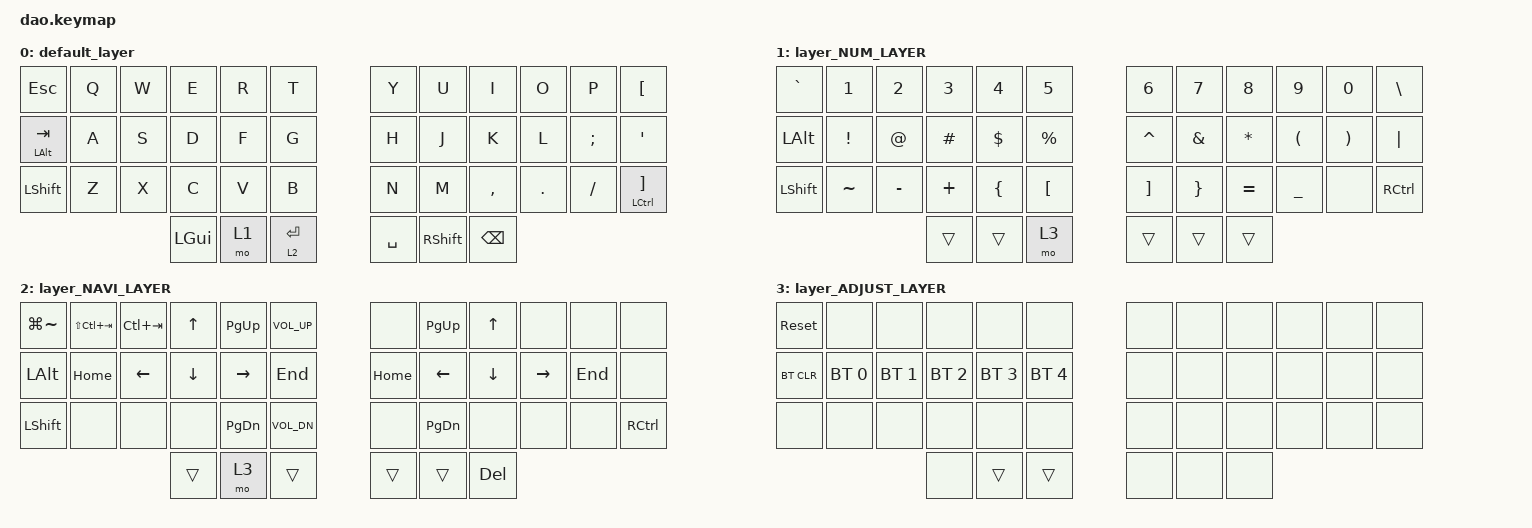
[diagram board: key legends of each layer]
/*
 * Copyright (c) 2021 Rafael Yumagulov
 *
 * SPDX-License-Identifier: MIT
 */

#include <behaviors.dtsi>
#include <dt-bindings/zmk/keys.h>
#include <dt-bindings/zmk/bt.h>
/*#include <dt-bindings/zmk/outputs.h>*/


#define QWERTY 0
#define NUMB 1
#define NAVI 2
#define ADJUST 3


&lt { quick_tap_ms = <150>; };
&mt { quick_tap_ms = <150>; };
&kscan0 {
    debounce-press-ms = <10>;
    debounce-release-ms = <10>;
};

/ {
    chosen {
        zmk,matrix_transform = &default_transform;
        // zmk,matrix_transform = &extra_keys_transform;
    };
};

/ {
     keymap {
        compatible = "zmk,keymap";


        default_layer {
            bindings = <
      &kp ESC   &kp Q   &kp W     &kp E   &kp R        &kp T              &kp Y      &kp U          &kp I    &kp O     &kp P         &kp LEFT_BRACKET
 &mt LALT TAB   &kp A   &kp S     &kp D   &kp F        &kp G              &kp H      &kp J          &kp K    &kp L  &kp SEMI                 &kp APOS
    &kp LSHFT   &kp Z   &kp X     &kp C   &kp V        &kp B              &kp N      &kp M      &kp COMMA  &kp DOT  &kp FSLH  &mt LCTRL RIGHT_BRACKET
                               &kp LGUI   &mo 1  &lt 2 ENTER          &kp SPACE  &kp RSHFT  &kp BACKSPACE
            >;
        };

        layer_NUM_LAYER {
            bindings = <
      &kp GRAVE           &kp N1       &kp N2    &kp N3          &kp N4            &kp N5                     &kp N6           &kp N7        &kp N8                &kp N9                 &kp N0      &kp BACKSLASH
   &kp LEFT_ALT  &kp EXCLAMATION  &kp AT_SIGN  &kp HASH      &kp DOLLAR       &kp PERCENT                  &kp CARET    &kp AMPERSAND  &kp ASTERISK  &kp LEFT_PARENTHESIS  &kp RIGHT_PARENTHESIS           &kp PIPE
 &kp LEFT_SHIFT        &kp TILDE    &kp MINUS  &kp PLUS  &kp LEFT_BRACE  &kp LEFT_BRACKET          &kp RIGHT_BRACKET  &kp RIGHT_BRACE     &kp EQUAL        &kp UNDERSCORE                  &none  &kp RIGHT_CONTROL
                                                 &trans          &trans             &mo 3                     &trans           &trans        &trans
            >;
        };

        layer_NAVI_LAYER {
            bindings = <
   &kp LG(TILDE)     &kp LS(LC(TAB))     &kp LC(TAB)    &kp UP    &kp PAGE_UP    &kp C_VOL_UP             &none    &kp PAGE_UP    &kp UP   &none  &none             &none
   &kp LEFT_ALT  &kp HOME  &kp LEFT  &kp DOWN      &kp RIGHT  &kp END          &kp HOME       &kp LEFT  &kp DOWN  &kp RIGHT   &kp END              &none
 &kp LEFT_SHIFT     &none     &none     &none  &kp PAGE_DOWN    &kp C_VOL_DN             &none  &kp PAGE_DOWN     &none      &none     &none  &kp RIGHT_CONTROL
                                       &trans          &mo 3   &trans            &trans         &trans   &kp DEL
            >;
        };

        layer_ADJUST_LAYER {
            bindings = <
     &sys_reset         &none         &none         &none         &none         &none           &none   &none   &none   &none   &none   &none
 &bt BT_CLR  &bt BT_SEL 0  &bt BT_SEL 1  &bt BT_SEL 2  &bt BT_SEL 3  &bt BT_SEL 4           &none   &none   &none   &none   &none   &none
      &none         &none         &none         &none         &none         &none           &none   &none   &none   &none   &none   &none
                                                &none        &trans        &trans           &none   &none   &none
            >;
        };

    };
};
